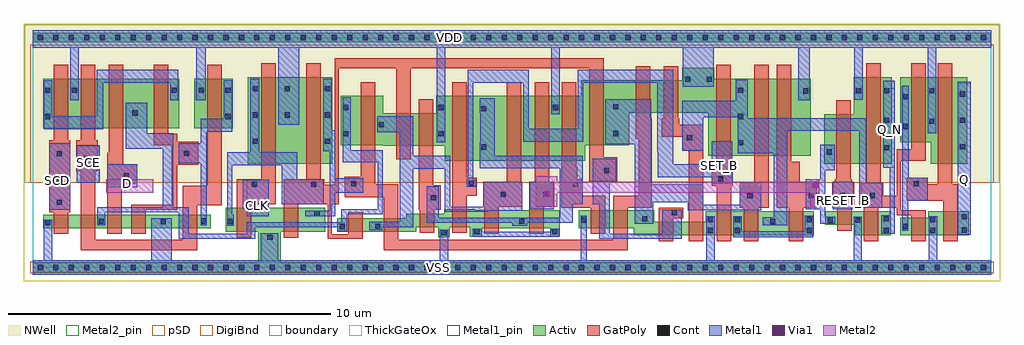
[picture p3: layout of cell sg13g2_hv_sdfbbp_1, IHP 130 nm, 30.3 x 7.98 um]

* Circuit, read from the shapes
.subckt sg13g2_hv_sdfbbp_1 CLK D Q Q_N RESET_B SCD SCE SET_B VDD VSS
XM1 n1 SCD VSS VSS sg13_hv_nmos w=0.42u l=0.45u
XM2 n2 SCE n1 VSS sg13_hv_nmos w=0.42u l=0.45u
XM3 n3 D n2 VSS sg13_hv_nmos w=0.42u l=0.45u
XM4 VSS n4 n3 VSS sg13_hv_nmos w=0.42u l=0.45u
XM5 n4 SCE VSS VSS sg13_hv_nmos w=0.42u l=0.45u
XM6 VSS CLK n5 VSS sg13_hv_nmos w=0.74u l=0.45u
XM7 n6 n5 VSS VSS sg13_hv_nmos w=0.74u l=0.45u
XM8 n7 n5 n2 VSS sg13_hv_nmos w=0.42u l=0.45u
XM9 n8 n6 n7 VSS sg13_hv_nmos w=0.42u l=0.45u
XM10 VSS n9 n8 VSS sg13_hv_nmos w=0.42u l=0.45u
XM11 n10 SET_B VSS VSS sg13_hv_nmos w=0.55u l=0.45u
XM12 n9 n7 n10 VSS sg13_hv_nmos w=0.55u l=0.45u
XM13 n10 n11 n9 VSS sg13_hv_nmos w=0.55u l=0.45u
XM14 n12 n9 VSS VSS sg13_hv_nmos w=0.55u l=0.45u
XM15 n13 n6 n12 VSS sg13_hv_nmos w=0.55u l=0.45u
XM16 n14 n5 n13 VSS sg13_hv_nmos w=0.42u l=0.45u
XM17 VSS n15 n14 VSS sg13_hv_nmos w=0.42u l=0.45u
XM18 n16 SET_B VSS VSS sg13_hv_nmos w=0.74u l=0.45u
XM19 n15 n13 n16 VSS sg13_hv_nmos w=0.74u l=0.45u
XM20 n16 n11 n15 VSS sg13_hv_nmos w=0.74u l=0.45u
XM21 VSS RESET_B n11 VSS sg13_hv_nmos w=0.42u l=0.45u
XM22 Q_N n15 VSS VSS sg13_hv_nmos w=0.74u l=0.45u
XM23 VSS n15 n17 VSS sg13_hv_nmos w=0.55u l=0.45u
XM24 Q n17 VSS VSS sg13_hv_nmos w=0.74u l=0.45u
XM25 VDD SCD n18 VDD sg13_hv_pmos w=1.535u l=0.45u
XM26 n19 SCE VDD VDD sg13_hv_pmos w=1.535u l=0.45u
XM27 n2 D n19 VDD sg13_hv_pmos w=1.535u l=0.45u
XM28 n18 n4 n2 VDD sg13_hv_pmos w=1.535u l=0.45u
XM29 n4 SCE VDD VDD sg13_hv_pmos w=1.535u l=0.45u
XM30 VDD CLK n5 VDD sg13_hv_pmos w=2.69u l=0.45u
XM31 n6 n5 VDD VDD sg13_hv_pmos w=2.69u l=0.45u
XM32 n7 n6 n2 VDD sg13_hv_pmos w=1.535u l=0.45u
XM33 n20 n5 n7 VDD sg13_hv_pmos w=1.01u l=0.45u
XM34 VDD n9 n20 VDD sg13_hv_pmos w=1.01u l=0.45u
XM35 n9 SET_B VDD VDD sg13_hv_pmos w=2.015u l=0.45u
XM36 n21 n7 n9 VDD sg13_hv_pmos w=2.015u l=0.45u
XM37 VDD n11 n21 VDD sg13_hv_pmos w=2.015u l=0.45u
XM38 n22 n9 VDD VDD sg13_hv_pmos w=2.015u l=0.45u
XM39 n13 n5 n22 VDD sg13_hv_pmos w=2.015u l=0.45u
XM40 n23 n6 n13 VDD sg13_hv_pmos w=1.01u l=0.45u
XM41 VDD n15 n23 VDD sg13_hv_pmos w=1.01u l=0.45u
XM42 n15 SET_B VDD VDD sg13_hv_pmos w=2.4u l=0.45u
XM43 n24 n13 n15 VDD sg13_hv_pmos w=2.4u l=0.45u
XM44 VDD n11 n24 VDD sg13_hv_pmos w=2.4u l=0.45u
XM45 VDD RESET_B n11 VDD sg13_hv_pmos w=1.535u l=0.45u
XM46 Q_N n15 VDD VDD sg13_hv_pmos w=2.69u l=0.45u
XM47 VDD n15 n17 VDD sg13_hv_pmos w=2.015u l=0.45u
XM48 Q n17 VDD VDD sg13_hv_pmos w=2.69u l=0.45u
.ends

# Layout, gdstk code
import gdstk
lib = gdstk.Library(unit=1e-6, precision=1e-09)
def R(c, l, rs):  # rectangles x0, y0, x1, y1
    for r in rs: c.add(gdstk.rectangle(r[:2], r[2:], *l))
def A(c, l, x, y, w, h, nx, ny, dx, dy):  # array of equal rectangles
    R(c, l, [(x+i*dx, y+j*dy, x+i*dx+w, y+j*dy+h) for i in range(nx) for j in range(ny)])
def P(c, l, *ps):  # polygons
    for p in ps: c.add(gdstk.Polygon(p, *l))
Activ = (1, 0)
GatPoly = (5, 0)
Cont = (6, 0)
Metal1 = (8, 0)
Metal1_pin = (8, 2)
Metal2 = (10, 0)
Metal2_pin = (10, 2)
pSD = (14, 0)
DigiBnd = (16, 0)
Via1 = (19, 0)
NWell = (31, 0)
ThickGateOx = (44, 0)
boundary = (189, 4)

sg13g2_hv_sdfbbp_1 = lib.new_cell('sg13g2_hv_sdfbbp_1')
R(sg13g2_hv_sdfbbp_1, Activ, [(0.32,1.225,5.53,1.645), (6.68,3.22,9.3,5.91), (0.32,4.33,4.545,5.865), (5.01,4.33,6.215,5.865), (0,6.99,29.76,7.29)])
P(sg13g2_hv_sdfbbp_1, Activ, [(0,-0.15),(0,0.15),(6.995,0.15),(6.995,1.11),(5.995,1.11),(5.995,1.85),(9.085,1.85),(9.085,1.11),(7.695,1.11),(7.695,0.15),(29.76,0.15),(29.76,-0.15)],
  [(26.935,1),(26.935,1.55),(27.795,1.55),(27.795,1.74),(29.065,1.74),(29.065,1)],
  [(25.52,1),(25.52,1.32),(24.61,1.32),(24.61,1.74),(26.645,1.74),(26.645,1)],
  [(18.665,1),(18.665,1.225),(16.955,1.225),(16.955,1.775),(19.29,1.775),(19.29,1.42),(20.89,1.42),(20.89,1.74),(24.255,1.74),(24.255,1)],
  [(12.595,0.935),(12.595,1.255),(11.9,1.255),(11.9,1.11),(9.46,1.11),(9.46,1.53),(11.595,1.53),(11.595,1.675),(12.775,1.675),(12.775,1.805),(13.745,1.805),(13.745,1.775),(16.36,1.775),(16.36,0.96),(16.06,0.96),(16.06,1.225),(13.945,1.225),(13.945,0.96),(13.57,0.96),(13.57,1.255),(12.95,1.255),(12.95,0.935)],
  [(27.875,3.22),(27.875,3.895),(26.935,3.895),(26.935,5.91),(29.015,5.91),(29.015,3.22)],
  [(25.485,3.22),(25.485,3.225),(24.58,3.225),(24.58,4.76),(25.485,4.76),(25.485,5.91),(26.665,5.91),(26.665,3.22)],
  [(12.795,3.31),(12.795,3.785),(10.885,3.785),(10.885,3.79),(9.57,3.79),(9.57,5.325),(10.885,5.325),(10.885,4.795),(12.525,4.795),(12.525,5.325),(17.035,5.325),(17.035,5.815),(20.16,5.815),(20.16,6.2),(21.155,6.2),(21.155,5.865),(24.15,5.865),(24.15,3.465),(20.98,3.465),(20.98,4.805),(18.525,4.805),(18.525,3.8),(17.155,3.8),(17.155,3.31)])
P(sg13g2_hv_sdfbbp_1, GatPoly, [(3.055,1.045),(3.055,1.945),(4.32,1.945),(4.32,3.79),(3.755,3.79),(3.755,6.295),(4.205,6.295),(4.205,4.15),(4.485,4.15),(4.485,3.91),(5.14,3.91),(5.14,3.19),(4.485,3.19),(4.485,1.795),(3.505,1.795),(3.505,1.045)],
  [(28.275,0.82),(28.275,2.075),(27.135,2.075),(27.135,2.78),(27.785,2.78),(27.785,2.58),(28.105,2.58),(28.105,6.345),(28.555,6.345),(28.555,2.58),(28.725,2.58),(28.725,0.82)],
  [(25.805,0.82),(25.805,1.85),(25.71,1.85),(25.71,2.625),(25.875,2.625),(25.875,6.345),(26.325,6.345),(26.325,2.625),(26.41,2.625),(26.41,2.225),(26.825,2.225),(26.825,3.67),(27.275,3.67),(27.275,6.345),(27.725,6.345),(27.725,3.31),(26.955,3.31),(26.955,1.775),(27.725,1.775),(27.725,0.82),(27.275,0.82),(27.275,1.625),(26.825,1.625),(26.825,1.85),(26.255,1.85),(26.255,0.82)],
  [(24.975,1.14),(24.975,1.85),(24.825,1.85),(24.825,2.625),(24.905,2.625),(24.905,2.74),(24.94,2.74),(24.94,5.19),(25.39,5.19),(25.39,2.74),(25.43,2.74),(25.43,2.625),(25.5,2.625),(25.5,1.85),(25.425,1.85),(25.425,1.14)],
  [(23.465,0.82),(23.465,1.85),(23.1,1.85),(23.1,6.295),(23.55,6.295),(23.55,3.285),(23.81,3.285),(23.81,2.625),(24.335,2.625),(24.335,1.85),(23.915,1.85),(23.915,0.82)],
  [(22.07,0.82),(22.07,1.85),(21.95,1.85),(21.95,2.625),(22.4,2.625),(22.4,6.295),(22.85,6.295),(22.85,1.85),(22.52,1.85),(22.52,0.82)],
  [(21.24,0.82),(21.24,2.545),(21.08,2.545),(21.08,3.08),(21.225,3.08),(21.225,6.295),(21.675,6.295),(21.675,3.08),(21.74,3.08),(21.74,2.545),(21.69,2.545),(21.69,0.82)],
  [(20.37,0.82),(20.37,3.63),(20.17,3.63),(20.17,4.065),(19.53,4.065),(19.53,4.63),(19.585,4.63),(19.585,6.25),(20.035,6.25),(20.035,4.63),(20.07,4.63),(20.07,4.425),(20.82,4.425),(20.82,0.82)],
  [(19.43,0.82),(19.43,1.86),(20.19,1.86),(20.19,1.53),(19.88,1.53),(19.88,0.82)],
  [(10.9,0.54),(10.9,2.175),(9.68,2.175),(9.68,2.81),(10.18,2.81),(10.18,5.755),(10.63,5.755),(10.63,2.59),(11.35,2.59),(11.35,0.865),(18.02,0.865),(18.02,2.225),(18.82,2.225),(18.82,3.99),(18.72,3.99),(18.72,6.25),(19.17,6.25),(19.17,4.63),(19.22,4.63),(19.22,1.85),(18.47,1.85),(18.47,0.54)],
  [(9.155,0.885),(9.155,1.97),(8.245,1.97),(8.245,0.93),(7.795,0.93),(7.795,2.745),(8.495,2.745),(8.495,6.345),(8.945,6.345),(8.945,2.745),(9.055,2.745),(9.055,2.565),(9.37,2.565),(9.37,6.5),(17.735,6.5),(17.735,3.415),(18.155,3.415),(18.155,2.685),(17.285,2.685),(17.285,6.19),(11.73,6.19),(11.73,3.355),(11.28,3.355),(11.28,6.19),(9.5,6.19),(9.5,1.97),(9.285,1.97),(9.285,1.035),(9.8,1.035),(9.8,1.71),(10.25,1.71),(10.25,0.885)],
  [(17.32,1.045),(17.32,1.85),(16.405,1.85),(16.405,3.13),(16.42,3.13),(16.42,5.755),(16.87,5.755),(16.87,3.13),(16.905,3.13),(16.905,2.74),(17.075,2.74),(17.075,2.225),(17.77,2.225),(17.77,1.045)],
  [(15.415,1.045),(15.415,2.66),(15.59,2.66),(15.59,5.755),(16.04,5.755),(16.04,2.66),(16.195,2.66),(16.195,1.885),(15.865,1.885),(15.865,1.045)],
  [(14.015,1.045),(14.015,1.885),(13.99,1.885),(13.99,2.66),(14.715,2.66),(14.715,5.755),(15.165,5.755),(15.165,2.66),(15.2,2.66),(15.2,1.885),(14.465,1.885),(14.465,1.045)],
  [(13.025,1.075),(13.025,5.755),(13.475,5.755),(13.475,2.78),(13.78,2.78),(13.78,2.225),(13.475,2.225),(13.475,1.075)],
  [(12.015,1.075),(12.015,1.785),(11.98,1.785),(11.98,5.23),(12.43,5.23),(12.43,2.56),(12.665,2.56),(12.665,1.785),(12.465,1.785),(12.465,1.075)],
  [(6.335,0.93),(6.335,2.745),(7.095,2.745),(7.095,6.345),(7.545,6.345),(7.545,1.97),(6.785,1.97),(6.785,0.93)],
  [(1.49,0.54),(1.49,2.995),(1.355,2.995),(1.355,3.955),(1.49,3.955),(1.49,6.295),(1.94,6.295),(1.94,3.955),(2.015,3.955),(2.015,2.995),(1.94,2.995),(1.94,0.865),(4.665,0.865),(4.665,2.53),(5.425,2.53),(5.425,6.295),(5.875,6.295),(5.875,1.935),(5.115,1.935),(5.115,0.54)],
  [(2.32,1.045),(2.32,3.56),(2.355,3.56),(2.355,6.295),(2.805,6.295),(2.805,3.21),(3.245,3.21),(3.245,2.6),(2.77,2.6),(2.77,1.045)],
  [(0.66,1.045),(0.66,1.715),(0.51,1.715),(0.51,3.955),(0.66,3.955),(0.66,6.295),(1.11,6.295),(1.11,3.955),(1.16,3.955),(1.16,1.715),(1.11,1.715),(1.11,1.045)])
A(sg13g2_hv_sdfbbp_1, Cont, 0.16, -0.08, 0.16, 0.16, 62, 2, 0.48, 7.14)
A(sg13g2_hv_sdfbbp_1, Cont, 6.825, 3.84, 0.16, 0.16, 1, 3, 0, 0.815)
A(sg13g2_hv_sdfbbp_1, Cont, 9.07, 3.84, 0.16, 0.16, 1, 3, 0, 0.815)
R(sg13g2_hv_sdfbbp_1, Cont, [(7.285,0.855,7.445,1.015), (12.69,1.005,12.85,1.165), (13.715,1.03,13.875,1.19), (16.13,1.03,16.29,1.19), (20.96,1.07,21.12,1.23), (21.8,1.07,21.96,1.23), (24.025,1.07,24.185,1.23), (26.415,1.07,26.575,1.23), (27.865,1.07,28.025,1.23), (28.835,1.085,28.995,1.245), (9.53,1.195,9.69,1.355), (27.005,1.195,27.165,1.355), (10.63,1.205,10.79,1.365), (0.39,1.315,0.55,1.475), (3.97,1.345,4.13,1.505), (6.065,1.35,6.225,1.51), (22.9,1.35,23.06,1.51), (2.05,1.355,2.21,1.515), (15.1,1.355,15.26,1.515), (5.225,1.365,5.385,1.525), (24.68,1.39,24.84,1.55), (25.535,1.39,25.695,1.55), (17.025,1.395,17.185,1.555), (20.96,1.41,21.12,1.57), (21.8,1.41,21.96,1.57), (24.025,1.41,24.185,1.57), (27.865,1.41,28.025,1.57), (18.925,1.43,19.085,1.59), (26.415,1.435,26.575,1.595), (28.835,1.5,28.995,1.66), (8.745,1.595,8.905,1.755), (19.835,1.615,19.995,1.775), (0.745,1.95,0.905,2.11), (12.365,2.09,12.525,2.25), (22.19,2.155,22.35,2.315), (24.09,2.155,24.25,2.315), (25.07,2.155,25.23,2.315), (25.98,2.155,26.14,2.315), (14.53,2.19,14.69,2.35), (15.84,2.19,16,2.35), (16.78,2.495,16.94,2.655), (6.795,2.5,6.955,2.66), (8.645,2.5,8.805,2.66), (27.345,2.515,27.505,2.675), (9.885,2.525,10.045,2.685), (13.535,2.53,13.695,2.69), (21.285,2.67,21.445,2.83), (0.745,2.68,0.905,2.84), (2.825,2.765,2.985,2.925), (17.74,2.93,17.9,3.09), (1.585,3.31,1.745,3.47), (0.745,3.455,0.905,3.615), (4.695,3.47,4.855,3.63), (24.65,3.505,24.81,3.665), (26.435,3.635,26.595,3.795), (13.925,3.66,14.085,3.82), (28.785,3.67,28.945,3.83), (21.895,3.79,22.055,3.95), (20.31,3.95,20.47,4.11), (9.64,4.07,9.8,4.23), (12.595,4.07,12.755,4.23), (18.02,4.08,18.18,4.24), (27.005,4.295,27.165,4.455), (10.74,4.355,10.9,4.515), (27.835,4.465,27.995,4.625), (26.435,4.49,26.595,4.65), (28.785,4.49,28.945,4.65), (0.39,4.61,0.55,4.77), (5.985,4.61,6.145,4.77), (21.895,4.61,22.055,4.77), (7.82,4.655,7.98,4.815), (3.095,4.715,3.255,4.875), (13.925,4.85,14.085,5.01), (9.64,4.885,9.8,5.045), (12.595,4.885,12.755,5.045), (16.15,4.885,16.31,5.045), (18.02,4.91,18.18,5.07), (27.005,5.22,27.165,5.38), (28.785,5.305,28.945,5.465), (23.92,5.4,24.08,5.56), (25.555,5.41,25.715,5.57), (26.435,5.41,26.595,5.57), (27.835,5.41,27.995,5.57), (0.39,5.425,0.55,5.585), (1.22,5.425,1.38,5.585), (4.315,5.425,4.475,5.585), (5.155,5.425,5.315,5.585), (5.985,5.425,6.145,5.585), (21.895,5.425,22.055,5.585), (7.82,5.47,7.98,5.63), (20.255,5.76,20.415,5.92), (20.925,5.76,21.085,5.92)])
R(sg13g2_hv_sdfbbp_1, Metal1, [(28.725,1.02,29.115,5.77), (0.51,1.785,1.16,3.86), (15.435,1.81,16.17,2.66), (24.845,1.81,25.485,2.665), (2.32,2.495,3.245,3.21), (1.37,2.625,2.075,3.79)])
P(sg13g2_hv_sdfbbp_1, Metal1, [(13.66,0.95),(13.66,1.205),(13.955,1.205),(13.955,1.11),(16.08,1.11),(16.08,1.205),(16.34,1.205),(16.34,0.95)],
  [(21.75,0.945),(21.75,1.585),(22.01,1.585),(22.01,1.125),(23.975,1.125),(23.975,1.6),(24.235,1.6),(24.235,0.945)],
  [(0,-0.22),(0,0.22),(0.34,0.22),(0.34,1.485),(0.6,1.485),(0.6,0.22),(3.68,0.22),(3.68,1.525),(4.31,1.525),(4.31,0.22),(7.085,0.22),(7.085,1.065),(7.63,1.065),(7.63,0.22),(12.64,0.22),(12.64,1.175),(12.9,1.175),(12.9,0.22),(17.02,0.22),(17.02,1.605),(17.195,1.605),(17.195,0.22),(20.91,0.22),(20.91,1.59),(21.17,1.59),(21.17,0.22),(25.485,0.22),(25.485,1.57),(25.745,1.57),(25.745,0.22),(27.815,0.22),(27.815,1.585),(28.075,1.585),(28.075,0.22),(29.76,0.22),(29.76,-0.22)],
  [(6.645,1.585),(6.645,1.81),(6.525,1.81),(6.525,2.725),(7.335,2.725),(7.335,1.585)],
  [(17.595,0.885),(17.595,1.965),(17.39,1.965),(17.39,3.38),(18.12,3.38),(18.12,2.63),(17.92,2.63),(17.92,1.045),(19.55,1.045),(19.55,1.79),(20.155,1.79),(20.155,0.885)],
  [(24.445,1.36),(24.445,1.81),(24.005,1.81),(24.005,2.74),(24.445,2.74),(24.445,3.81),(24.9,3.81),(24.9,3.02),(24.605,3.02),(24.605,1.57),(24.92,1.57),(24.92,1.36)],
  [(10.455,1.155),(10.455,1.415),(11.4,1.415),(11.4,4.195),(10.69,4.195),(10.69,4.69),(11.82,4.69),(11.82,3.465),(12.96,3.465),(12.96,1.885),(13.99,1.885),(13.99,2.66),(15.2,2.66),(15.2,1.765),(14.15,1.765),(14.15,1.725),(12.79,1.725),(12.79,3.07),(11.82,3.07),(11.82,1.255),(10.845,1.255),(10.845,1.155)],
  [(18.69,1.365),(18.69,3.825),(17.78,3.825),(17.78,5.23),(19.2,5.23),(19.2,2.585),(20.82,2.585),(20.82,1.955),(21.95,1.955),(21.95,2.625),(22.625,2.625),(22.625,1.775),(20.335,1.775),(20.335,2.025),(19.26,2.025),(19.26,1.365)],
  [(14.89,1.3),(14.89,1.385),(12.24,1.385),(12.24,2.525),(12.605,2.525),(12.605,1.545),(16.36,1.545),(16.36,3.08),(13.875,3.08),(13.875,3.87),(13.89,3.87),(13.89,4.8),(13.875,4.8),(13.875,5.25),(14.345,5.25),(14.345,3.465),(17.075,3.465),(17.075,1.965),(16.765,1.965),(16.765,1.385),(15.355,1.385),(15.355,1.3)],
  [(4.535,0.885),(4.535,1.71),(2.26,1.71),(2.26,1.305),(2,1.305),(2,1.87),(4.03,1.87),(4.03,3.69),(2.89,3.69),(2.89,5.11),(3.55,5.11),(3.55,4.17),(4.36,4.17),(4.36,1.87),(4.84,1.87),(4.84,1.055),(6.645,1.055),(6.645,1.405),(9.575,1.405),(9.575,1.815),(10.705,1.815),(10.705,3.26),(9.62,3.26),(9.62,5.29),(9.87,5.29),(9.87,3.645),(10.865,3.645),(10.865,1.655),(9.765,1.655),(9.765,1.13),(9.46,1.13),(9.46,1.245),(6.905,1.245),(6.905,0.885)],
  [(26.99,1.135),(26.99,5.65),(27.195,5.65),(27.195,2.78),(27.785,2.78),(27.785,2.075),(27.175,2.075),(27.175,1.135)],
  [(26.34,1.04),(26.34,1.62),(26.6,1.62),(26.6,3.09),(26.41,3.09),(26.41,5.805),(26.77,5.805),(26.77,1.04)],
  [(5.215,1.315),(5.215,3.235),(4.54,3.235),(4.54,3.86),(5.215,3.86),(5.215,4.615),(5.935,4.615),(5.935,5.815),(6.195,5.815),(6.195,4.21),(5.4,4.21),(5.4,1.315)],
  [(22.66,1.305),(22.66,1.555),(23.01,1.555),(23.01,3.55),(21.89,3.55),(21.89,4.665),(20.82,4.665),(20.82,3.63),(20.17,3.63),(20.17,5.17),(21.83,5.17),(21.83,5.83),(22.195,5.83),(22.195,4.63),(25.875,4.63),(25.875,2.625),(26.37,2.625),(26.37,1.85),(25.665,1.85),(25.665,4.245),(23.43,4.245),(23.43,1.305)],
  [(6.04,1.3),(6.04,3.585),(6.75,3.585),(6.75,5.865),(7.035,5.865),(7.035,3.585),(8.21,3.585),(8.21,2.745),(9.04,2.745),(9.04,1.97),(7.725,1.97),(7.725,3.175),(6.2,3.175),(6.2,1.64),(6.245,1.64),(6.245,1.3)],
  [(8.46,1.585),(8.46,1.765),(9.225,1.765),(9.225,3.61),(9.02,3.61),(9.02,5.865),(9.28,5.865),(9.28,4.255),(9.395,4.255),(9.395,2.765),(10.265,2.765),(10.265,2.32),(9.395,2.32),(9.395,1.585)],
  [(0.34,4.29),(0.34,5.815),(0.6,5.815),(0.6,4.7),(1.995,4.7),(1.995,6.14),(4.525,6.14),(4.525,5.19),(4.265,5.19),(4.265,5.73),(2.195,5.73),(2.195,4.29)],
  [(13.475,2.51),(13.475,2.73),(13.5,2.73),(13.5,6.14),(15.4,6.14),(15.4,4.305),(16.915,4.305),(16.915,6.14),(19.88,6.14),(19.88,3.2),(21.08,3.2),(21.08,3.92),(21.71,3.92),(21.71,3.08),(21.74,3.08),(21.74,2.595),(21.08,2.595),(21.08,2.795),(19.4,2.795),(19.4,3.595),(19.385,3.595),(19.385,5.73),(17.085,5.73),(17.085,3.91),(15.225,3.91),(15.225,5.73),(13.67,5.73),(13.67,2.73),(13.765,2.73),(13.765,2.51)],
  [(12.545,3.895),(12.545,6.825),(8.28,6.825),(8.28,4.425),(7.63,4.425),(7.63,6.825),(5.365,6.825),(5.365,5.19),(5.08,5.19),(5.08,6.825),(1.43,6.825),(1.43,5.19),(1.17,5.19),(1.17,6.825),(0,6.825),(0,7.36),(29.76,7.36),(29.76,6.825),(28.045,6.825),(28.045,4.17),(27.785,4.17),(27.785,6.825),(25.765,6.825),(25.765,5.205),(25.505,5.205),(25.505,6.825),(24.13,6.825),(24.13,5.19),(23.76,5.19),(23.76,6.825),(21.14,6.825),(21.14,5.61),(20.175,5.61),(20.175,6.825),(16.36,6.825),(16.36,4.75),(16.1,4.75),(16.1,6.825),(12.805,6.825),(12.805,3.895)])
R(sg13g2_hv_sdfbbp_1, Metal1_pin, [(0,-0.22,29.76,0.22), (28.725,1.02,29.115,5.72), (6.645,1.59,7.335,2.725), (0.51,1.79,1.16,3.85), (24.845,1.81,25.485,2.665), (1.37,2.625,2.07,3.775), (21.08,2.795,21.71,3.92), (26.41,3.09,26.77,5.565), (0,6.825,29.76,7.36)])
R(sg13g2_hv_sdfbbp_1, Metal2, [(2.285,2.32,3.74,2.735)])
P(sg13g2_hv_sdfbbp_1, Metal2, [(15.625,1.885),(15.625,2.825),(16.285,2.825),(16.285,2.655),(24.135,2.655),(24.135,2.74),(24.425,2.74),(24.425,1.9),(24.135,1.9),(24.135,2.32),(16.285,2.32),(16.285,1.885)])
R(sg13g2_hv_sdfbbp_1, Metal2_pin, [(2.285,2.32,3.74,2.735)])
R(sg13g2_hv_sdfbbp_1, pSD, [(-0.07,-0.18,29.83,0.18), (-0.07,2.635,29.83,6.92)])
R(sg13g2_hv_sdfbbp_1, DigiBnd, [(0,0,29.76,7.14)])
R(sg13g2_hv_sdfbbp_1, Via1, [(15.885,2.175,16.075,2.365), (24.195,2.47,24.385,2.66), (2.77,2.52,2.96,2.71)])
R(sg13g2_hv_sdfbbp_1, NWell, [(-0.24,2.625,30,7.53)])
R(sg13g2_hv_sdfbbp_1, ThickGateOx, [(-0.27,-0.42,30.03,7.56)])
R(sg13g2_hv_sdfbbp_1, boundary, [(0,0,29.76,7.14)])
sg13g2_hv_sdfbbp_1.add(gdstk.Label('Q', (28.92,2.72), layer=8, texttype=25))
sg13g2_hv_sdfbbp_1.add(gdstk.Label('SCD', (0.765,2.705), layer=8, texttype=25))
sg13g2_hv_sdfbbp_1.add(gdstk.Label('SCE', (1.73,3.27), layer=8, texttype=25))
sg13g2_hv_sdfbbp_1.add(gdstk.Label('CLK', (6.975,1.93), layer=8, texttype=25))
sg13g2_hv_sdfbbp_1.add(gdstk.Label('VDD', (12.95,7.14), layer=8, texttype=25))
sg13g2_hv_sdfbbp_1.add(gdstk.Label('VSS', (12.61,0), layer=8, texttype=25))
sg13g2_hv_sdfbbp_1.add(gdstk.Label('SET_B', (21.31,3.175), layer=8, texttype=25))
sg13g2_hv_sdfbbp_1.add(gdstk.Label('RESET_B', (25.165,2.075), layer=8, texttype=25))
sg13g2_hv_sdfbbp_1.add(gdstk.Label('Q_N', (26.595,4.28), layer=8, texttype=25))
sg13g2_hv_sdfbbp_1.add(gdstk.Label('D', (2.945,2.6), layer=10, texttype=25))

lib.write_gds('sg13g2_hv_sdfbbp_1.gds')
